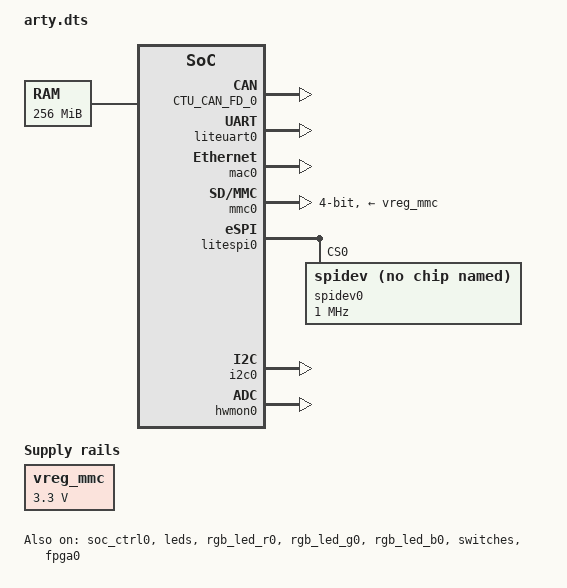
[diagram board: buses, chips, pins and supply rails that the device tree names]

/dts-v1/;

/ {
        #address-cells = <1>;
        #size-cells    = <1>;


        chosen {
            bootargs = "console=liteuart earlycon=liteuart,0xf0001000 rootwait root=/dev/ram0";
            linux,initrd-start = <0x41000000>;
            linux,initrd-end   = <0x41800000>;
        };

        cpus {
            #address-cells = <1>;
            #size-cells    = <0>;
            timebase-frequency = <100000000>;

            CPU0: cpu@0 {
                device_type = "cpu";
                compatible = "riscv";
                riscv,isa = "rv32i2p0_ma";
                mmu-type = "riscv,sv32";
                reg = <0>;
                clock-frequency = <100000000>;
                status = "okay";
                
                d-cache-size = <4096>;
                d-cache-sets = <1>;
                d-cache-block-size = <64>;

                i-cache-size = <4096>;
                i-cache-sets = <1>;
                i-cache-block-size = <64>;

                
                d-tlb-size = <4>;
                d-tlb-sets = <4>;

                i-tlb-size = <4>;
                i-tlb-sets = <4>;

                L0: interrupt-controller {
                    #interrupt-cells = <0x00000001>;
                    interrupt-controller;
                    compatible = "riscv,cpu-intc";
                };
            };

            
        };

        memory@40000000 {
            device_type = "memory";
            reg = <0x40000000 0x10000000>;
        };

        reserved-memory {
            #address-cells = <1>;
            #size-cells    = <1>;
            ranges;

            opensbi@40f00000 {
                reg = <0x40f00000 0x80000>;
            };

        };

        clocks {
            sys_clk: litex_sys_clk {
                #clock-cells = <0>;
                compatible = "fixed-clock";
                clock-frequency = <100000000>;
            };
        };

        vreg_mmc: vreg_mmc {
            compatible = "regulator-fixed";
            regulator-name = "vreg_mmc";
            regulator-min-microvolt = <3300000>;
            regulator-max-microvolt = <3300000>;
            regulator-always-on;
        };

        soc {
            #address-cells = <1>;
            #size-cells    = <1>;
            compatible = "simple-bus";
            interrupt-parent = <&intc0>;
            ranges;

            soc_ctrl0: soc_controller@f0000000 {
                compatible = "litex,soc-controller";
                reg = <0xf0000000 0xc>;
                status = "okay";
            };

            intc0: interrupt-controller@f0c00000 {
                compatible = "sifive,fu540-c000-plic", "sifive,plic-1.0.0";
                reg = <0xf0c00000 0x400000>;
                #address-cells = <0>;
                #interrupt-cells = <1>;
                interrupt-controller;
                interrupts-extended = <
                    &L0 11 &L0 9>;
                riscv,ndev = <32>;
            };

            CTU_CAN_FD_0: CTU_CAN_FD@80010000 {
            	compatible = "ctu,ctucanfd";
		reg = <0x80010000 0x10000>;
            	interrupt-parent = <&intc0>;
            	interrupts = <0 30 4>;
		clocks = <&sys_clk>;
		status = "okay";
            };

            liteuart0: serial@f0001000 {
                compatible = "litex,liteuart";
                reg = <0xf0001000 0x100>;
                interrupts = <1>;
                status = "okay";
            };

            mac0: mac@f0002000 {
                compatible = "litex,liteeth";
                reg = <0xf0002000 0x7c>,
                      <0xf0002800 0x0a>,
                      <0x80000000 0x2000>;
                reg-names = "mac", "mdio", "buffer";
                litex,rx-slots = <2>;
                litex,tx-slots = <2>;
                litex,slot-size = <2048>;
                interrupts = <3>;
                status = "okay";
            };

            mmc0: mmc@f0009000 {
                compatible = "litex,mmc";
                reg = <0xf0009000 0x100>,
                      <0xf0007800 0x100>,
                      <0xf0007000 0x100>,
                      <0xf0008800 0x100>,
                      <0xf0008000 0x100>;
                reg-names = "phy", "core", "reader", "writer", "irq";
                clocks = <&sys_clk>;
                vmmc-supply = <&vreg_mmc>;
                bus-width = <0x04>;
                interrupts = <4>;
                status = "okay";
            };

            leds: gpio@f0004800 {
                compatible = "litex,gpio";
                reg = <0xf0004800 0x4>;
                gpio-controller;
                #gpio-cells = <2>;
                litex,direction = "out";
                status = "disabled";
            };

            rgb_led_r0: pwm@f0006800 {
                compatible = "litex,pwm";
                reg = <0xf0006800 0x24>;
                clock = <100000000>;
                #pwm-cells = <3>;
                status = "okay";
            };

            rgb_led_g0: pwm@f0006000 {
                compatible = "litex,pwm";
                reg = <0xf0006000 0x24>;
                clock = <100000000>;
                #pwm-cells = <3>;
                status = "okay";
            };

            rgb_led_b0: pwm@f0005800 {
                compatible = "litex,pwm";
                reg = <0xf0005800 0x24>;
                clock = <100000000>;
                #pwm-cells = <3>;
                status = "okay";
            };

            switches: gpio@f000b000 {
                compatible = "litex,gpio";
                reg = <0xf000b000 0x4>;
                gpio-controller;
                #gpio-cells = <2>;
                litex,direction = "in";
                interrupts = <5>;
                status = "disabled";
            };

            litespi0: spi@f000a000 {
                compatible = "litex,litespi";
                reg = <0xf000a000 0x100>;
                status = "okay";

                litespi,max-bpw = <8>;
                litespi,sck-frequency = <1000000>;
                litespi,num-cs = <1>;

                #address-cells = <1>;
                #size-cells    = <0>;

                spidev0: spidev@0 {
                    compatible = "linux,spidev";
                    reg = <0>;
                    spi-max-frequency = <1000000>;
                    status = "okay";
                };
            };

            i2c0: i2c@f0003000 {
                compatible = "litex,i2c";
                reg = <0xf0003000 0x5>;
                #address-cells = <1>;
                #size-cells = <0>;
                status = "okay";
            };

            hwmon0: xadc@f000b800 {
                compatible = "litex,hwmon-xadc";
                reg = <0xf000b800 0x20>;
                status = "okay";
            };

            fpga0: icap@f0003800 {
                compatible = "litex,fpga-icap";
                reg = <0xf0003800 0x14>;
                status = "okay";
            };

            clk0: clk@f0005000 {
                compatible = "litex,clk";
                reg = <0xf0005000 0x100>;
                #clock-cells = <1>;
                #address-cells = <1>;
                #size-cells = <0>;
                clock-output-names =

                    "CLKOUT0",

                    "CLKOUT1";

                litex,lock-timeout = <10>;
                litex,drdy-timeout = <10>;
                litex,sys-clock-frequency = <100000000>;
                litex,divclk-divide-min = <1>;
                litex,divclk-divide-max = <107>;
                litex,clkfbout-mult-min = <2>;
                litex,clkfbout-mult-max = <65>;
                litex,vco-freq-min = <600000000>;
                litex,vco-freq-max = <1200000000>;
                litex,clkout-divide-min = <1>;
                litex,clkout-divide-max = <129>;
                litex,vco-margin = <0>;

                CLKOUT0: CLKOUT0 {
                    compatible = "litex,clk";
                    #clock-cells = <0>;
                    clock-output-names = "CLKOUT0";
                    reg = <0>;
                    litex,clock-frequency = <100000000>;
                    litex,clock-phase = <0>;
                    litex,clock-duty-num = <50>;
                    litex,clock-duty-den = <100>;
                    litex,clock-margin = <1>;
                    litex,clock-margin-exp = <2>;
                };

                CLKOUT1: CLKOUT1 {
                    compatible = "litex,clk";
                    #clock-cells = <0>;
                    clock-output-names = "CLKOUT1";
                    reg = <1>;
                    litex,clock-frequency = <100000000>;
                    litex,clock-phase = <0>;
                    litex,clock-duty-num = <50>;
                    litex,clock-duty-den = <100>;
                    litex,clock-margin = <1>;
                    litex,clock-margin-exp = <2>;
                };

            };
        };

        aliases {

                serial0 = &liteuart0;

                spi0 = &litespi0;

        };

};

&leds {
        litex,ngpio = <4>;
        status = "okay";
};

&switches {
        litex,ngpio = <4>;
        status = "okay";
};
